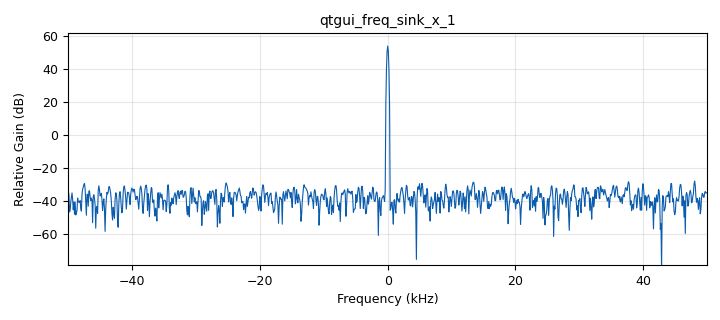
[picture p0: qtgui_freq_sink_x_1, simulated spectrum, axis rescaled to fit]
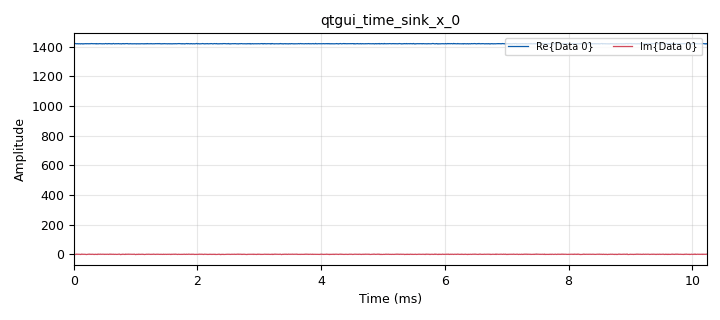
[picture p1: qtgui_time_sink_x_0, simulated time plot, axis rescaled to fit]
options:
  parameters:
    author: gnnkt
    generate_options: qt_gui
    id: part3_sine
    output_language: python
    title: Not titled yet
  states: {}

blocks:
- name: samp_rate
  id: variable
  parameters:
    value: '100000'
  states: {}
- name: analog_noise_source_x_0
  id: analog_noise_source_x
  parameters:
    amp: '1'
    noise_type: analog.GR_GAUSSIAN
    seed: '0'
    type: complex
  states: {}
- name: analog_sig_source_x_0_0_0
  id: analog_sig_source_x
  parameters:
    amp: '0.1'
    freq: '5000'
    offset: '1420'
    phase: '0'
    samp_rate: samp_rate
    type: complex
    waveform: analog.GR_COS_WAVE
  states: {}
- name: blocks_add_xx_0_0
  id: blocks_add_xx
  parameters:
    type: complex
  states: {}
- name: blocks_throttle2_1
  id: blocks_throttle2
  parameters:
    samples_per_second: samp_rate
    type: complex
  states: {}
- name: qtgui_freq_sink_x_1
  id: qtgui_freq_sink_x
  parameters:
    bw: samp_rate
    fc: '0'
    fftsize: '1024'
    type: complex
  states: {}
- name: qtgui_time_sink_x_0
  id: qtgui_time_sink_x
  parameters:
    size: '1024'
    srate: samp_rate
    type: complex
  states: {}

connections:
- [analog_noise_source_x_0, '0', blocks_add_xx_0_0, '0']
- [analog_sig_source_x_0_0_0, '0', blocks_add_xx_0_0, '1']
- [blocks_add_xx_0_0, '0', blocks_throttle2_1, '0']
- [blocks_throttle2_1, '0', qtgui_freq_sink_x_1, '0']
- [blocks_throttle2_1, '0', qtgui_time_sink_x_0, '0']

metadata:
  file_format: 1
  grc_version: 3.10.12.0
